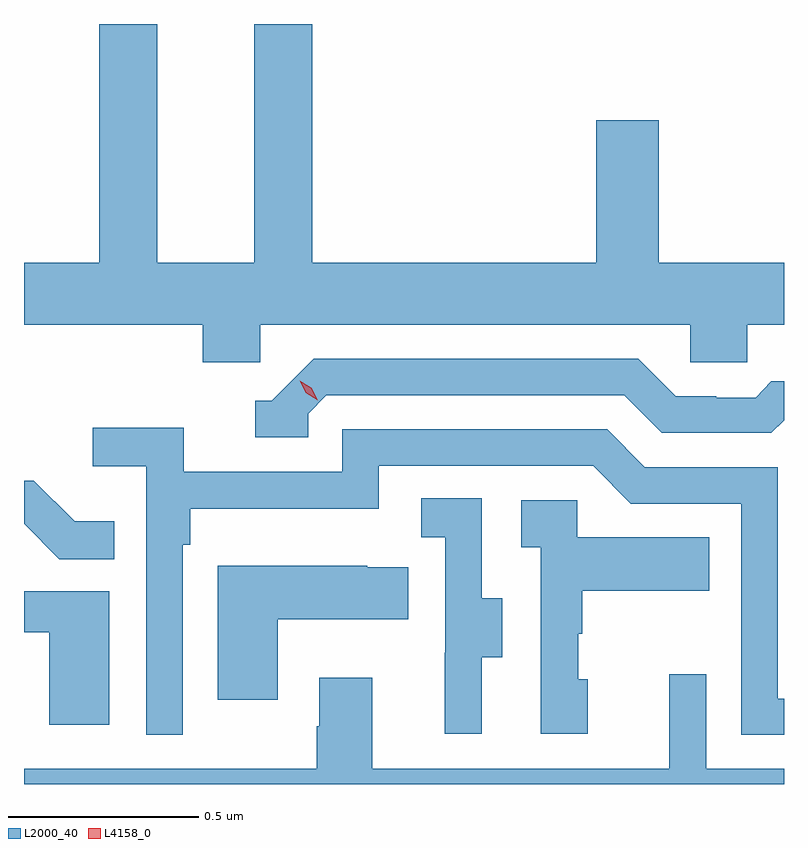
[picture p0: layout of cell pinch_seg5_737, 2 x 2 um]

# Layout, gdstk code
import gdstk
lib = gdstk.Library(unit=1e-6, precision=1e-09)
def P(c, l, *ps):  # polygons
    for p in ps: c.add(gdstk.Polygon(p, *l))
L2000_40 = (2000, 40)
L4158_0 = (4158, 0)

pinch_seg5_737 = lib.new_cell('pinch_seg5_737')
P(pinch_seg5_737, L2000_40, [(1099.188,836.78),(1100.319,836.78),(1100.319,836.682),(1100.469,836.682),(1100.469,836.78),(1100.566,836.78),(1100.566,836.944),(1100.236,836.944),(1100.236,837.319),(1100.072,837.319),(1100.072,836.944),(1099.325,836.944),(1099.325,837.572),(1099.172,837.572),(1099.172,836.944),(1098.916,836.944),(1098.916,837.572),(1098.764,837.572),(1098.764,836.944),(1098.566,836.944),(1098.566,836.78),(1099.037,836.78),(1099.037,836.682),(1099.188,836.682)],
  [(1099.314,836.547),(1099.362,836.595),(1100.145,836.595),(1100.244,836.496),(1100.533,836.496),(1100.566,836.529),(1100.566,836.632),(1100.533,836.632),(1100.491,836.589),(1100.388,836.589),(1100.388,836.592),(1100.281,836.592),(1100.182,836.691),(1099.329,836.691),(1099.218,836.58),(1099.175,836.58),(1099.175,836.484),(1099.314,836.484)],
  [(1098.984,836.201),(1099.004,836.201),(1099.004,836.297),(1099.5,836.297),(1099.5,836.409),(1100.064,836.409),(1100.163,836.31),(1100.454,836.31),(1100.454,835.701),(1100.566,835.701),(1100.566,835.797),(1100.55,835.797),(1100.55,836.406),(1100.2,836.406),(1100.101,836.505),(1099.404,836.505),(1099.404,836.394),(1098.986,836.394),(1098.986,836.51),(1098.747,836.51),(1098.747,836.408),(1098.888,836.408),(1098.888,835.701),(1098.984,835.701)],
  [(1098.803,836.263),(1098.699,836.263),(1098.592,836.37),(1098.566,836.37),(1098.566,836.257),(1098.659,836.164),(1098.803,836.164)],
  [(1099.771,835.906),(1099.825,835.906),(1099.825,836.061),(1099.77,836.061),(1099.77,836.324),(1099.611,836.324),(1099.611,836.221),(1099.674,836.221),(1099.674,835.917),(1099.673,835.917),(1099.673,835.704),(1099.771,835.704)],
  [(1100.05,835.848),(1100.025,835.848),(1100.025,835.967),(1100.035,835.967),(1100.035,836.081),(1100.369,836.081),(1100.369,836.221),(1100.022,836.221),(1100.022,836.319),(1099.875,836.319),(1099.875,836.195),(1099.926,836.195),(1099.926,835.704),(1100.05,835.704)],
  [(1099.234,836.006),(1099.577,836.006),(1099.577,836.143),(1099.469,836.143),(1099.469,836.146),(1099.076,836.146),(1099.076,835.794),(1099.234,835.794)],
  [(1098.79,836.079),(1098.566,836.079),(1098.566,835.971),(1098.632,835.971),(1098.632,835.728),(1098.79,835.728)],
  [(1100.566,835.612),(1100.361,835.612),(1100.361,835.861),(1100.264,835.861),(1100.264,835.612),(1099.483,835.612),(1099.483,835.852),(1099.343,835.852),(1099.343,835.724),(1099.336,835.724),(1099.336,835.612),(1098.566,835.612),(1098.566,835.572),(1100.566,835.572)])
P(pinch_seg5_737, L4158_0, [(1099.339,836.582),(1099.308,836.601),(1099.291,836.633),(1099.291,836.633),(1099.291,836.633),(1099.322,836.615),(1099.339,836.582),(1099.339,836.582)])

lib.write_gds('pinch_seg5_737.gds')
